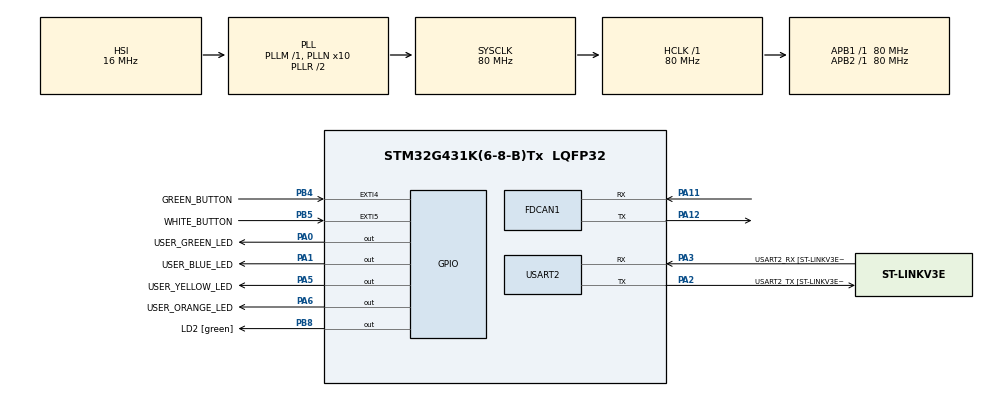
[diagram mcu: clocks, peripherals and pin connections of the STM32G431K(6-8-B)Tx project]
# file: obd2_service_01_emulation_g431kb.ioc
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FDCAN1.CalculateBaudRateNominal=250000
FDCAN1.CalculateTimeBitNominal=4000
FDCAN1.CalculateTimeQuantumNominal=250.0
FDCAN1.DataPrescaler=20
FDCAN1.DataSyncJumpWidth=3
FDCAN1.DataTimeSeg1=12
FDCAN1.DataTimeSeg2=3
FDCAN1.NominalPrescaler=20
FDCAN1.NominalSyncJumpWidth=3
FDCAN1.NominalTimeSeg1=12
FDCAN1.NominalTimeSeg2=3
FDCAN1.StdFiltersNbr=1
Mcu.Family=STM32G4
Mcu.Name=STM32G431K(6-8-B)Tx
Mcu.Package=LQFP32
NVIC.EXTI4_IRQn=true\:0\:0\:false\:false\:true\:true\:true\:true
NVIC.EXTI9_5_IRQn=true\:0\:0\:false\:false\:true\:true\:true\:true
NVIC.FDCAN1_IT0_IRQn=true\:0\:0\:false\:false\:true\:true\:true\:true
NVIC.PriorityGroup=NVIC_PRIORITYGROUP_4
PA0.GPIO_Label=USER_GREEN_LED
PA0.Signal=GPIO_Output
PA1.GPIO_Label=USER_BLUE_LED
PA1.Signal=GPIO_Output
PA11.Mode=FDCAN_Activate
PA11.Signal=FDCAN1_RX
PA12.Mode=FDCAN_Activate
PA12.Signal=FDCAN1_TX
PA13.GPIO_Label=T_SWDIO
PA13.Mode=Serial_Wire
PA13.Signal=SYS_JTMS-SWDIO
PA14.GPIO_Label=T_SWCLK
PA14.Mode=Serial_Wire
PA14.Signal=SYS_JTCK-SWCLK
PA2.GPIO_Label=USART2_TX [ST-LINKV3E_VCP_RX]
PA2.Mode=Asynchronous
PA2.Signal=USART2_TX
PA3.GPIO_Label=USART2_RX [ST-LINKV3E_VCP_TX]
PA3.Mode=Asynchronous
PA3.Signal=USART2_RX
PA5.GPIO_Label=USER_YELLOW_LED
PA5.Signal=GPIO_Output
PA6.GPIO_Label=USER_ORANGE_LED
PA6.Signal=GPIO_Output
PB3.GPIO_Label=T_SWO
PB3.Signal=SYS_JTDO-SWO
PB4.GPIO_Label=GREEN_BUTTON
PB4.GPIO_ModeDefaultEXTI=GPIO_MODE_IT_FALLING
PB4.GPIO_PuPd=GPIO_PULLUP
PB4.Signal=GPXTI4
PB5.GPIO_Label=WHITE_BUTTON
PB5.GPIO_ModeDefaultEXTI=GPIO_MODE_IT_FALLING
PB5.GPIO_PuPd=GPIO_PULLUP
PB5.Signal=GPXTI5
PB8-BOOT0.GPIO_Label=LD2 [green]
PB8-BOOT0.Signal=GPIO_Output
ProjectManager.HeapSize=0x200
ProjectManager.StackSize=0x400
ProjectManager.TargetToolchain=STM32CubeIDE
RCC.ADC12Freq_Value=80000000
RCC.AHBFreq_Value=80000000
RCC.APB1Freq_Value=80000000
RCC.APB1TimFreq_Value=80000000
RCC.APB2Freq_Value=80000000
RCC.APB2TimFreq_Value=80000000
RCC.CortexFreq_Value=80000000
RCC.EXTERNAL_CLOCK_VALUE=12288000
RCC.HCLKFreq_Value=80000000
RCC.HSE_VALUE=8000000
RCC.HSI48_VALUE=48000000
RCC.HSI_VALUE=16000000
RCC.LSE_VALUE=32768
RCC.PLLN=10
RCC.SYSCLKFreq_VALUE=80000000
RCC.SYSCLKSource=RCC_SYSCLKSOURCE_PLLCLK
RCC.USBFreq_Value=80000000
RCC.VCOOutputFreq_Value=160000000
USART2.VirtualMode-Asynchronous=VM_ASYNC
USART2.WordLength=WORDLENGTH_8B
VP_SYS_VS_DBSignals.Mode=DisableDeadBatterySignals
board=NUCLEO-G431KB

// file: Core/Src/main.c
/* USER CODE BEGIN Header */
/**
 ******************************************************************************
 * @file           : main.c
 * @brief          : Main program body
 ******************************************************************************
 * @attention
 *
 * Copyright (c) 2024 STMicroelectronics.
 * All rights reserved.
 *
 * This software is licensed under terms that can be found in the LICENSE file
 * in the root directory of this software component.
 * If no LICENSE file comes with this software, it is provided AS-IS.
 *
 ******************************************************************************
 */
/* USER CODE END Header */
#include "main.h"
#include "fdcan.h"
#include "usart.h"
#include "gpio.h"

/* USER CODE BEGIN Includes */
#include <string.h>
/* USER CODE END Includes */

/* USER CODE BEGIN PD */
#define RPM 666.0f
#define RPM_MIN 1000.0f
#define RPM_MAX 7000.0f
#define MAF 66.66f
#define ECT 66.0f
#define ECT_MIN 20.0f
#define ECT_MAX 120.0f
#define FUEL_LEVEL 66.0f
#define FUEL_LEVEL_MIN 0.0f
#define FUEL_LEVEL_MAX 100.0f
/* USER CODE END PD */

/* USER CODE BEGIN PV */
FDCAN_RxHeaderTypeDef rxHeader;
uint8_t rxData[8];
uint8_t canDatacheck = 0;

FDCAN_TxHeaderTypeDef txHeader;
uint8_t txData[8];

// https://www.csselectronics.com/pages/obd2-pid-table-on-board-diagnostics-j1979
uint8_t pids_supported_01_20[8] =
{ 0x06, 0x41, 0x00, 0x08, 0x11, 0x00, 0x01, 0xAA }; // RPM, ECT and MAF PIDs
uint8_t pids_supported_21_40[8] =
{ 0x06, 0x41, 0x20, 0x00, 0x02, 0x00, 0x00, 0xAA }; // Fuel level PID

float rpm = RPM;
float ect = ECT;
float maf = MAF;
float fuel_level = FUEL_LEVEL;
/* USER CODE END PV */

void SystemClock_Config(void);
/* USER CODE BEGIN PFP */
void Dec2HexTwoBytes(uint16_t dec_value, uint8_t *msb_value, uint8_t *lsb_value);
void SendCanFrame(void);
/* USER CODE END PFP */

int main(void)
{

  /* MCU Configuration--------------------------------------------------------*/

  /* Reset of all peripherals, Initializes the Flash interface and the Systick. */
  HAL_Init();

  /* Configure the system clock */
  SystemClock_Config();

  /* Initialize all configured peripherals */
  MX_GPIO_Init();
  MX_USART2_UART_Init();
  MX_FDCAN1_Init();
  /* USER CODE BEGIN 2 */
	if (HAL_FDCAN_Start(&hfdcan1) != HAL_OK)
	{
		Error_Handler();
	}

	if (HAL_FDCAN_ActivateNotification(&hfdcan1, FDCAN_IT_RX_FIFO0_NEW_MESSAGE,
			0) != HAL_OK)
	{
		Error_Handler();
	}

	txHeader.IdType = FDCAN_STANDARD_ID;
	txHeader.TxFrameType = FDCAN_DATA_FRAME;
	txHeader.DataLength = FDCAN_DLC_BYTES_8;
	txHeader.ErrorStateIndicator = FDCAN_ESI_ACTIVE;
	txHeader.BitRateSwitch = FDCAN_BRS_OFF;
	txHeader.FDFormat = FDCAN_CLASSIC_CAN;
	txHeader.TxEventFifoControl = FDCAN_NO_TX_EVENTS;

  /* USER CODE END 2 */

  /* Infinite loop */
  /* USER CODE BEGIN WHILE */
	while (1)
	{

		if (canDatacheck == 1)
		{
			canDatacheck = 0;

			if (rpm < RPM_MAX)
			{
				rpm += 10.0;
			}

			if (ect < ECT_MAX)
			{
				ect += 1.0;
			}

			if (fuel_level - 0.5 > FUEL_LEVEL_MIN)
			{
				fuel_level -= 0.5;
			}

			if ((rxData[0] == 0x02) && (rxData[1] == 0x01)
					&& (rxData[2] == 0x00)) //--------------- Welcome PIDs 0x01-0x20
			{
				txHeader.Identifier = 0x7E8;
				memcpy(txData, pids_supported_01_20, 8);

				SendCanFrame();
				HAL_GPIO_TogglePin(USER_BLUE_LED_GPIO_Port, USER_BLUE_LED_Pin);
			}

			else if ((rxData[0] == 0x02) && (rxData[1] == 0x01)
					&& (rxData[2] == 0x20)) //---------------- Welcome PIDs 0x21-0x40
			{
				txHeader.Identifier = 0x7E8;
				memcpy(txData, pids_supported_21_40, 8);

				SendCanFrame();
				HAL_GPIO_TogglePin(USER_BLUE_LED_GPIO_Port, USER_BLUE_LED_Pin);
			}

			else if ((rxData[0] == 0x02) && (rxData[1] == 0x01)
					&& (rxData[2] == 0x0C)) //----------------------------------- RPM
			{
				txHeader.Identifier = 0x7E8;
				txData[0] = 0x04;
				txData[1] = 0x41;
				txData[2] = 0x0C;
				Dec2HexTwoBytes((uint16_t) (rpm * 4), &txData[3], &txData[4]);
				txData[5] = 0xAA;
				txData[6] = 0xAA;
				txData[7] = 0xAA;

				SendCanFrame();
				HAL_GPIO_TogglePin(USER_GREEN_LED_GPIO_Port,
				USER_GREEN_LED_Pin);
			}

			else if ((rxData[0] == 0x02) && (rxData[1] == 0x01)
					&& (rxData[2] == 0x05)) //--------------------------------- ECT
			{

				txHeader.Identifier = 0x7E8;
				txData[0] = 0x03;
				txData[1] = 0x41;
				txData[2] = 0x05;
				txData[3] = (uint8_t) (ect + 40);
				txData[4] = 0xAA;
				txData[5] = 0xAA;
				txData[6] = 0xAA;
				txData[7] = 0xAA;

				SendCanFrame();
				HAL_GPIO_TogglePin(USER_GREEN_LED_GPIO_Port,
				USER_GREEN_LED_Pin);
			}

			else if ((rxData[0] == 0x02) && (rxData[1] == 0x01)
					&& (rxData[2] == 0x10)) //---------------------------------- MAF
			{

				txHeader.Identifier = 0x7E8;
				txData[0] = 0x04;
				txData[1] = 0x41;
				txData[2] = 0x10;
				Dec2HexTwoBytes((uint16_t) (maf * 100), &txData[3], &txData[4]);
				txData[5] = 0xAA;
				txData[6] = 0xAA;
				txData[7] = 0xAA;

				SendCanFrame();
				HAL_GPIO_TogglePin(USER_YELLOW_LED_GPIO_Port,
				USER_YELLOW_LED_Pin);
			}

			else if ((rxData[0] == 0x02) && (rxData[1] == 0x01)
					&& (rxData[2] == 0x2F)) //----------------- Fuel tank level input
			{
				txHeader.Identifier = 0x7E8;
				txData[0] = 0x03;
				txData[1] = 0x41;
				txData[2] = 0x2F;
				txData[3] = (uint8_t) (fuel_level * 2.55f);
				txData[4] = 0xAA;
				txData[5] = 0xAA;
				txData[6] = 0xAA;
				txData[7] = 0xAA;

				SendCanFrame();
				HAL_GPIO_TogglePin(USER_ORANGE_LED_GPIO_Port,
				USER_ORANGE_LED_Pin);
			}
			else
			{
				__NOP();
			}
		}
    /* USER CODE END WHILE */

	}
}

void SystemClock_Config(void)
{
  RCC_OscInitTypeDef RCC_OscInitStruct = {0};
  RCC_ClkInitTypeDef RCC_ClkInitStruct = {0};

  /** Configure the main internal regulator output voltage
  */
  HAL_PWREx_ControlVoltageScaling(PWR_REGULATOR_VOLTAGE_SCALE1);

  /** Initializes the RCC Oscillators according to the specified parameters
  * in the RCC_OscInitTypeDef structure.
  */
  RCC_OscInitStruct.OscillatorType = RCC_OSCILLATORTYPE_HSI;
  RCC_OscInitStruct.HSIState = RCC_HSI_ON;
  RCC_OscInitStruct.HSICalibrationValue = RCC_HSICALIBRATION_DEFAULT;
  RCC_OscInitStruct.PLL.PLLState = RCC_PLL_ON;
  RCC_OscInitStruct.PLL.PLLSource = RCC_PLLSOURCE_HSI;
  RCC_OscInitStruct.PLL.PLLM = RCC_PLLM_DIV1;
  RCC_OscInitStruct.PLL.PLLN = 10;
  RCC_OscInitStruct.PLL.PLLP = RCC_PLLP_DIV2;
  RCC_OscInitStruct.PLL.PLLQ = RCC_PLLQ_DIV2;
  RCC_OscInitStruct.PLL.PLLR = RCC_PLLR_DIV2;
  if (HAL_RCC_OscConfig(&RCC_OscInitStruct) != HAL_OK)
  {
    Error_Handler();
  }

  /** Initializes the CPU, AHB and APB buses clocks
  */
  RCC_ClkInitStruct.ClockType = RCC_CLOCKTYPE_HCLK|RCC_CLOCKTYPE_SYSCLK
                              |RCC_CLOCKTYPE_PCLK1|RCC_CLOCKTYPE_PCLK2;
  RCC_ClkInitStruct.SYSCLKSource = RCC_SYSCLKSOURCE_PLLCLK;
  RCC_ClkInitStruct.AHBCLKDivider = RCC_SYSCLK_DIV1;
  RCC_ClkInitStruct.APB1CLKDivider = RCC_HCLK_DIV1;
  RCC_ClkInitStruct.APB2CLKDivider = RCC_HCLK_DIV1;

  if (HAL_RCC_ClockConfig(&RCC_ClkInitStruct, FLASH_LATENCY_2) != HAL_OK)
  {
    Error_Handler();
  }
}

/* USER CODE BEGIN 4 */
void HAL_FDCAN_RxFifo0Callback(FDCAN_HandleTypeDef *hfdcan, uint32_t RxFifo0ITs)
{
	if ((RxFifo0ITs & FDCAN_IT_RX_FIFO0_NEW_MESSAGE) != RESET)
	{
		if (HAL_FDCAN_GetRxMessage(hfdcan, FDCAN_RX_FIFO0, &rxHeader, rxData)
				!= HAL_OK)
		{
			Error_Handler();
		}
		else
		{
			canDatacheck = 1;
		}
	}
}

void HAL_GPIO_EXTI_Callback(uint16_t GPIO_Pin)
{
	if (GPIO_Pin == WHITE_BUTTON_Pin)
	{
		ect = ECT_MIN;
	}
	if (GPIO_Pin == GREEN_BUTTON_Pin)
	{
		rpm = RPM_MIN;
		fuel_level = FUEL_LEVEL_MAX;
	}
}

void Dec2HexTwoBytes(uint16_t dec_value, uint8_t *msb_value, uint8_t *lsb_value)
{
	*lsb_value = dec_value & 0x00FF;
	*msb_value = dec_value >> 8;
}

void SendCanFrame(void)
{
	if (HAL_FDCAN_AddMessageToTxFifoQ(&hfdcan1, &txHeader, txData) != HAL_OK)
	{
		Error_Handler();
	}
}
/* USER CODE END 4 */

void Error_Handler(void)
{
	__disable_irq();
	while (1)
	{
	}
}
